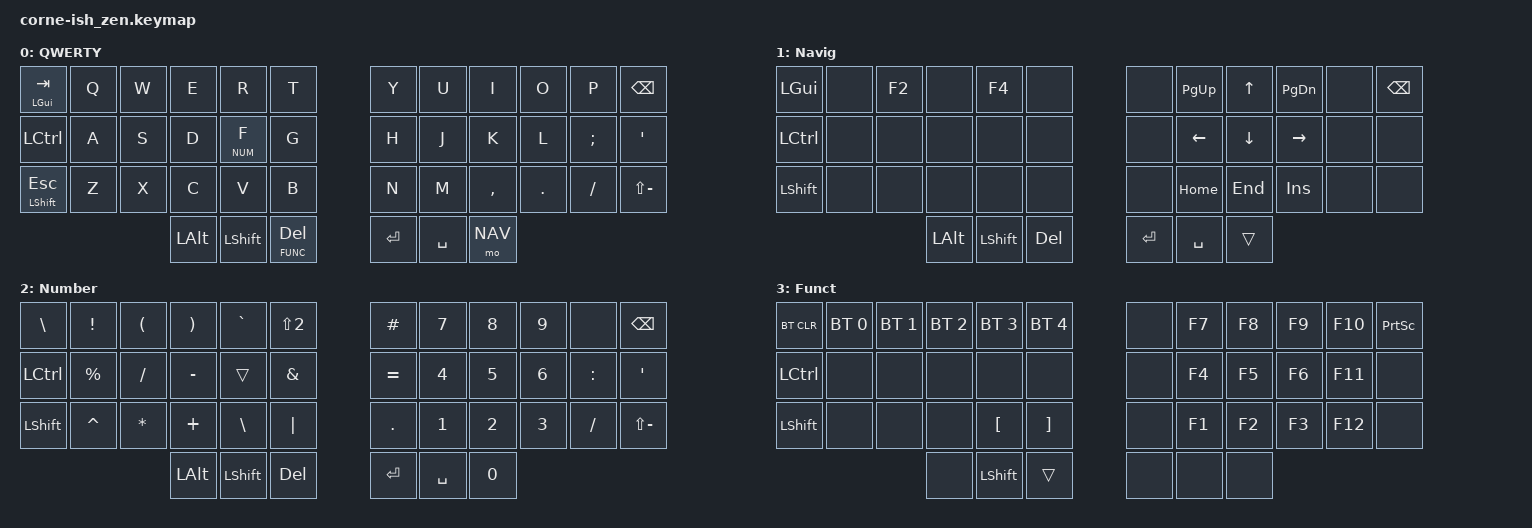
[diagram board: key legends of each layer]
/*
*
* Copyright (c) 2021 Darryl deHaan
* SPDX-License-Identifier: MIT
*
*/

#include <behaviors.dtsi>
#include <dt-bindings/zmk/keys.h>
#include <dt-bindings/zmk/bt.h>


#define QWERTY 0
#define NAV 1
#define NUM 2
#define FUNC 3


/ {
        keymap {
                compatible = "zmk,keymap";

                default_layer {
                        label = "QWERTY";
                        bindings = <
   &mt LGUI TAB   &kp Q &kp W &kp E &kp R     &kp T   &kp Y &kp U  &kp I     &kp O   &kp P    &kp BSPC
   &kp LCTRL      &kp A &kp S &kp D &lt NUM F &kp G   &kp H &kp J  &kp K     &kp L   &kp SEMI &kp SQT
   &mt LSHFT ESC  &kp Z &kp X &kp C &kp V     &kp B   &kp N &kp M  &kp COMMA &kp DOT &kp FSLH &kp LS(MINUS)
              &kp LALT &kp LSHFT &lt FUNC DEL         &kp RET &kp SPACE &mo NAV
                        >;
                };

                Navigation_layer {
                        label = "Navig";
                        bindings = <
   &kp LGUI   &none  &kp F2 &none &kp F4 &none     &none &kp PG_UP &kp UP   &kp PG_DN  &none &kp BSPC
   &kp LCTRL  &none  &none  &none &none  &none     &none &kp LEFT  &kp DOWN &kp RIGHT  &none &none
   &kp LSHFT  &none  &none  &none &none  &none     &none &kp HOME  &kp END  &kp INS    &none &none
                       &kp LALT &kp LSHFT &kp DEL  &kp RET &kp SPACE &trans
                        >;
                };

                Number_layer {
                        label = "Number";
                        bindings = <
   &kp BSLH  &kp EXCL  &kp LPAR &kp RPAR  &kp GRAV  &kp LS(N2) &kp HASH   &kp N7    &kp N8 &kp N9 &none     &kp BSPC
   &kp LCTRL &kp PRCNT &kp FSLH &kp MINUS &trans    &kp AMPS   &kp EQUAL  &kp N4    &kp N5 &kp N6 &kp COLON &kp SQT
   &kp LSHFT &kp CARET &kp STAR &kp PLUS  &kp BSLH  &kp PIPE   &kp DOT    &kp N1    &kp N2 &kp N3 &kp FSLH  &kp LS(MINUS)
                                &kp LALT  &kp LSHFT &kp DEL    &kp RET    &kp SPACE &kp N0
                        >;
                };

                Function_layer {
                        label = "Funct";
                        bindings = <
   &bt BT_CLR &bt BT_SEL 0 &bt BT_SEL 1 &bt BT_SEL 2 &bt BT_SEL 3 &bt BT_SEL 4     &none &kp F7 &kp F8 &kp F9 &kp F10 &kp PSCRN
   &kp LCTRL  &none        &none        &none        &none        &none            &none &kp F4 &kp F5 &kp F6 &kp F11 &none
   &kp LSHFT  &none        &none        &none        &kp LBKT     &kp RBKT         &none &kp F1 &kp F2 &kp F3 &kp F12 &none
                                        &none        &kp LSHFT    &trans           &none &none  &none
                        >;
                };
        };
};
